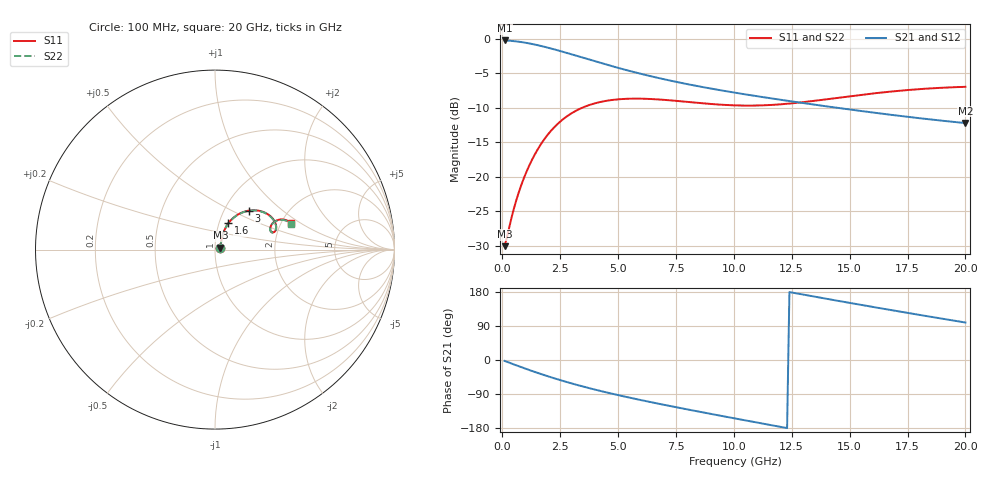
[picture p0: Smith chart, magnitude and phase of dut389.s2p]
! Touchstone file exported from HFSS 2024.1.0
!  File:  C:/UserFiles/LocalFiles/RDL_TSV_Batchsim/temp_RDL_TSV_389_1779647196.aedt
!  Generated:  02:43:09 AM May 25, 2026
!  Design:  RDL_TSV
!  Project:  temp_RDL_TSV_389_1779647196
!  Setup:  Setup1
!  Solution:  Sweep
! Variables:
!  dtsv = 13.02um
!  hbump = 3um
!  htsv = 59.8um
!  ldown = 516.98um
!  lrdl = 605.49um
!  p = 40
!  p1 = 55.44um
!  rhole = 10um
!  subl = 3972.9um
!  t = 450um
!  tdown = 3.51um
!  trdl = 3.71um
!  viad = 10um
!  wdown = 10.05um
!  wrdl = 15.5um
!  xbump = 18um
# GHz S MA R 50.000000
! Terminal data exported
! Port[1] = TM1_1_T1
! Port[2] = TM1_4_T1
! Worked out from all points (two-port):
!   200 points, 100 MHz to 20 GHz, reference 50 ohm
!   highest |S21| = -0.27 dB at 100 MHz (marker M1); lowest = -12.2 dB at 20 GHz (marker M2)
!   |S21| within 3 dB of the highest: start of sweep to 3.988 GHz
!   lowest |S11| = -30.1 dB at 100 MHz (marker M3), VSWR 1.06, Z = 53.1 + j1.05 ohm
!   |S11| at or under -10 dB: start of sweep to 3.458 GHz
!   |S22| runs from -30.1 to -7.0 dB; largest |S21 - S12| = 9.5e-15
!   S11 on the Smith chart (normalised r, x): 100 MHz: 1.06, +0.02; 1.6 GHz: 1.11, +0.34; 3 GHz: 1.30, +0.62; 20 GHz: 2.26, +0.82
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0.1  0.03143 18.3  0.9699 -2.4  0.9699 -2.4  0.03143 18.3
! Gamma 0 0 0 0
! Port Impedance 50 0 50 0
0.5  0.05874 53.6  0.9594 -11.7  0.9594 -11.7  0.05875 53.5
0.8  0.08517 61.3  0.9455 -18.4  0.9455 -18.4  0.08517 61.3
1.2  0.1241 64.3  0.9208 -27.2  0.9208 -27.2  0.1241 64.2
1.6  0.1651 63.1  0.8908 -35.6  0.8908 -35.6  0.1649 63.0
1.9  0.1953 60.8  0.866 -41.6  0.866 -41.6  0.1951 60.7
2.3  0.2333 56.8  0.8311 -49.3  0.8311 -49.3  0.233 56.7
3  0.2888 48.9  0.769 -61.9  0.769 -61.9  0.2882 48.7
3.5  0.3184 43.3  0.7261 -70.2  0.7261 -70.2  0.3177 43.2
4.3  0.3497 35.3  0.6629 -82.6  0.6629 -82.6  0.3487 35.1
5.1  0.3646 28.8  0.6078 -94.0  0.6078 -94.0  0.3634 28.6
5.9  0.3677 23.6  0.5607 -104.6  0.5607 -104.6  0.3664 23.4
6.8  0.3623 19.6  0.5162 -116.0  0.5162 -116.0  0.3609 19.4
7.6  0.3533 17.4  0.4828 -125.7  0.4828 -125.7  0.3518 17.2
8.4  0.3433 16.5  0.4542 -135.2  0.4542 -135.2  0.3418 16.3
10.1  0.3285 18.0  0.4047 -154.8  0.4047 -154.8  0.3269 17.8
11.7  0.3316 21.6  0.3674 -173.0  0.3674 -173.0  0.33 21.4
13.4  0.3533 24.6  0.3341 168.1  0.3341 168.1  0.3515 24.4
15  0.3823 25.3  0.3069 150.7  0.3069 150.7  0.3803 25.1
16.7  0.4124 24.1  0.282 132.7  0.282 132.7  0.4102 23.8
18.3  0.4341 21.8  0.2621 116.1  0.2621 116.1  0.4317 21.5
20  0.4477 19.0  0.2446 98.9  0.2446 98.9  0.4452 18.7
